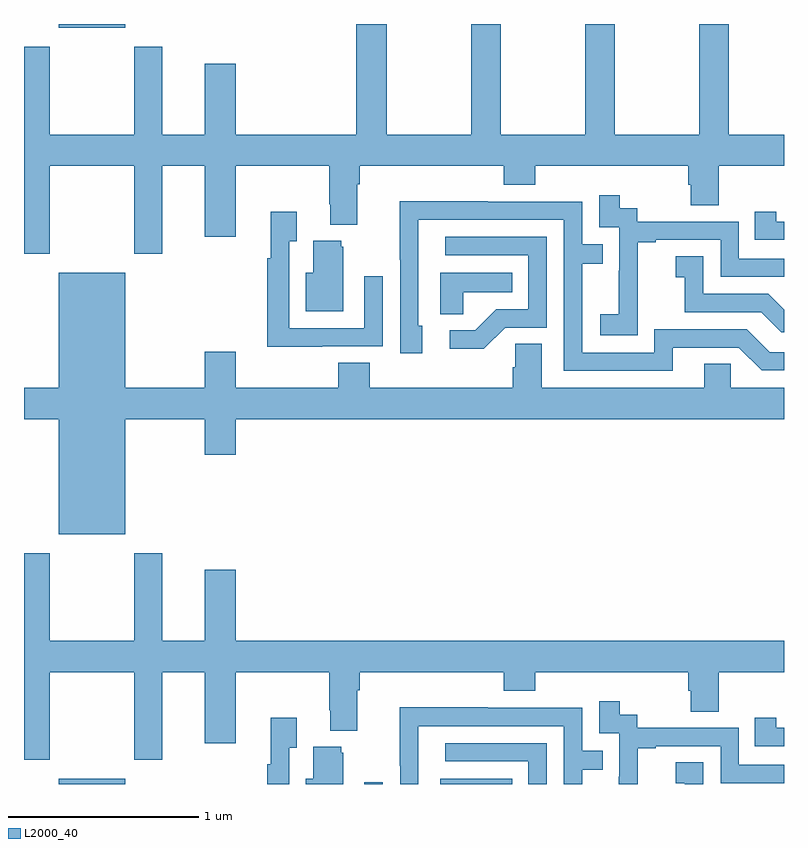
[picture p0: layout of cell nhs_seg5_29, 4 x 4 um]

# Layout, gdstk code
import gdstk
lib = gdstk.Library(unit=1e-6, precision=1e-09)
def R(c, l, rs):  # rectangles x0, y0, x1, y1
    for r in rs: c.add(gdstk.rectangle(r[:2], r[2:], *l))
def P(c, l, *ps):  # polygons
    for p in ps: c.add(gdstk.Polygon(p, *l))
L2000_40 = (2000, 40)

nhs_seg5_29 = lib.new_cell('nhs_seg5_29')
R(nhs_seg5_29, L2000_40, [(111.182,894.799,111.532,894.826), (112.791,894.799,112.887,894.808), (113.192,894.799,113.57,894.826), (111.182,898.778,111.532,898.799)])
P(nhs_seg5_29, L2000_40, [(111.135,898.052),(111.58,898.052),(111.58,897.591),(111.727,897.591),(111.727,898.052),(111.95,898.052),(111.95,897.678),(112.114,897.678),(112.114,898.052),(112.606,898.052),(112.606,897.85),(112.613,897.85),(112.613,897.743),(112.753,897.743),(112.753,897.956),(112.766,897.956),(112.766,898.052),(113.525,898.052),(113.525,897.953),(113.69,897.953),(113.69,898.052),(114.497,898.052),(114.497,897.954),(114.509,897.954),(114.509,897.844),(114.657,897.844),(114.657,898.052),(115,898.052),(115,898.216),(114.708,898.216),(114.708,898.799),(114.553,898.799),(114.553,898.216),(114.108,898.216),(114.108,898.799),(113.953,898.799),(113.953,898.216),(113.508,898.216),(113.508,898.799),(113.353,898.799),(113.353,898.216),(112.908,898.216),(112.908,898.799),(112.748,898.799),(112.748,898.216),(112.114,898.216),(112.114,898.591),(111.95,898.591),(111.95,898.216),(111.727,898.216),(111.727,898.678),(111.58,898.678),(111.58,898.216),(111.135,898.216),(111.135,898.678),(111,898.678),(111,897.591),(111.135,897.591)],
  [(114.231,897.367),(114.23,897.367),(114.23,897.651),(114.325,897.651),(114.325,897.663),(114.666,897.663),(114.666,897.468),(115,897.468),(115,897.564),(114.762,897.564),(114.762,897.759),(114.228,897.759),(114.228,897.828),(114.136,897.828),(114.136,897.898),(114.027,897.898),(114.027,897.729),(114.132,897.729),(114.132,897.5),(114.131,897.5),(114.131,897.271),(114.033,897.271),(114.033,897.161),(114.231,897.161)],
  [(114.415,897.096),(114.762,897.096),(114.882,896.976),(115,896.976),(115,897.072),(114.924,897.072),(114.804,897.192),(114.318,897.192),(114.318,897.069),(113.937,897.069),(113.937,897.538),(114.047,897.538),(114.047,897.639),(113.937,897.639),(113.937,897.864),(113.441,897.864),(113.441,897.866),(112.978,897.866),(112.978,897.559),(112.98,897.559),(112.98,897.066),(113.095,897.066),(113.095,897.21),(113.076,897.21),(113.076,897.768),(113.841,897.768),(113.841,896.973),(114.415,896.973)],
  [(115,897.759),(114.958,897.759),(114.958,897.811),(114.847,897.811),(114.847,897.663),(115,897.663)],
  [(112.571,897.102),(112.887,897.102),(112.887,897.472),(112.791,897.472),(112.791,897.198),(112.395,897.198),(112.395,897.655),(112.435,897.655),(112.435,897.811),(112.298,897.811),(112.298,897.566),(112.279,897.566),(112.279,897.101),(112.571,897.101)],
  [(113.532,897.201),(113.751,897.201),(113.751,897.678),(113.217,897.678),(113.217,897.582),(113.655,897.582),(113.655,897.297),(113.486,897.297),(113.375,897.186),(113.241,897.186),(113.241,897.089),(113.419,897.089)],
  [(112.681,897.627),(112.67,897.627),(112.67,897.658),(112.523,897.658),(112.523,897.49),(112.484,897.49),(112.484,897.287),(112.681,897.287)],
  [(115,897.296),(114.918,897.378),(114.576,897.378),(114.576,897.577),(114.429,897.577),(114.429,897.467),(114.478,897.467),(114.478,897.282),(114.881,897.282),(114.986,897.177),(115,897.177)],
  [(113.313,897.386),(113.57,897.386),(113.57,897.49),(113.192,897.49),(113.192,897.271),(113.313,897.271)],
  [(111.532,896.72),(111.95,896.72),(111.95,896.532),(112.114,896.532),(112.114,896.72),(115,896.72),(115,896.884),(114.72,896.884),(114.72,897.011),(114.581,897.011),(114.581,896.884),(113.725,896.884),(113.725,897.116),(113.586,897.116),(113.586,896.993),(113.573,896.993),(113.573,896.884),(112.82,896.884),(112.82,897.017),(112.655,897.017),(112.655,896.884),(112.114,896.884),(112.114,897.073),(111.95,897.073),(111.95,896.884),(111.532,896.884),(111.532,897.49),(111.182,897.49),(111.182,896.884),(111,896.884),(111,896.72),(111.182,896.72),(111.182,896.114),(111.532,896.114)],
  [(111.135,895.388),(111.58,895.388),(111.58,894.927),(111.727,894.927),(111.727,895.388),(111.95,895.388),(111.95,895.014),(112.114,895.014),(112.114,895.388),(112.606,895.388),(112.606,895.186),(112.613,895.186),(112.613,895.079),(112.753,895.079),(112.753,895.292),(112.766,895.292),(112.766,895.388),(113.525,895.388),(113.525,895.289),(113.69,895.289),(113.69,895.388),(114.497,895.388),(114.497,895.29),(114.509,895.29),(114.509,895.18),(114.657,895.18),(114.657,895.388),(115,895.388),(115,895.552),(112.114,895.552),(112.114,895.927),(111.95,895.927),(111.95,895.552),(111.727,895.552),(111.727,896.014),(111.58,896.014),(111.58,895.552),(111.135,895.552),(111.135,896.014),(111,896.014),(111,894.927),(111.135,894.927)],
  [(114.23,894.987),(114.325,894.987),(114.325,894.999),(114.666,894.999),(114.666,894.804),(115,894.804),(115,894.9),(114.762,894.9),(114.762,895.095),(114.228,895.095),(114.228,895.164),(114.136,895.164),(114.136,895.234),(114.027,895.234),(114.027,895.065),(114.132,895.065),(114.132,894.836),(114.131,894.836),(114.131,894.799),(114.23,894.799)],
  [(113.076,895.104),(113.841,895.104),(113.841,894.799),(113.937,894.799),(113.937,894.874),(114.047,894.874),(114.047,894.975),(113.937,894.975),(113.937,895.2),(113.441,895.2),(113.441,895.202),(112.978,895.202),(112.978,894.895),(112.98,894.895),(112.98,894.799),(113.076,894.799)],
  [(112.395,894.991),(112.435,894.991),(112.435,895.147),(112.298,895.147),(112.298,894.902),(112.279,894.902),(112.279,894.799),(112.395,894.799)],
  [(115,895.095),(114.958,895.095),(114.958,895.147),(114.847,895.147),(114.847,894.999),(115,894.999)],
  [(113.751,895.014),(113.217,895.014),(113.217,894.918),(113.655,894.918),(113.655,894.799),(113.751,894.799)],
  [(112.681,894.963),(112.67,894.963),(112.67,894.994),(112.523,894.994),(112.523,894.826),(112.484,894.826),(112.484,894.799),(112.681,894.799)],
  [(114.576,894.913),(114.429,894.913),(114.429,894.803),(114.478,894.803),(114.478,894.799),(114.576,894.799)])

lib.write_gds('nhs_seg5_29.gds')
